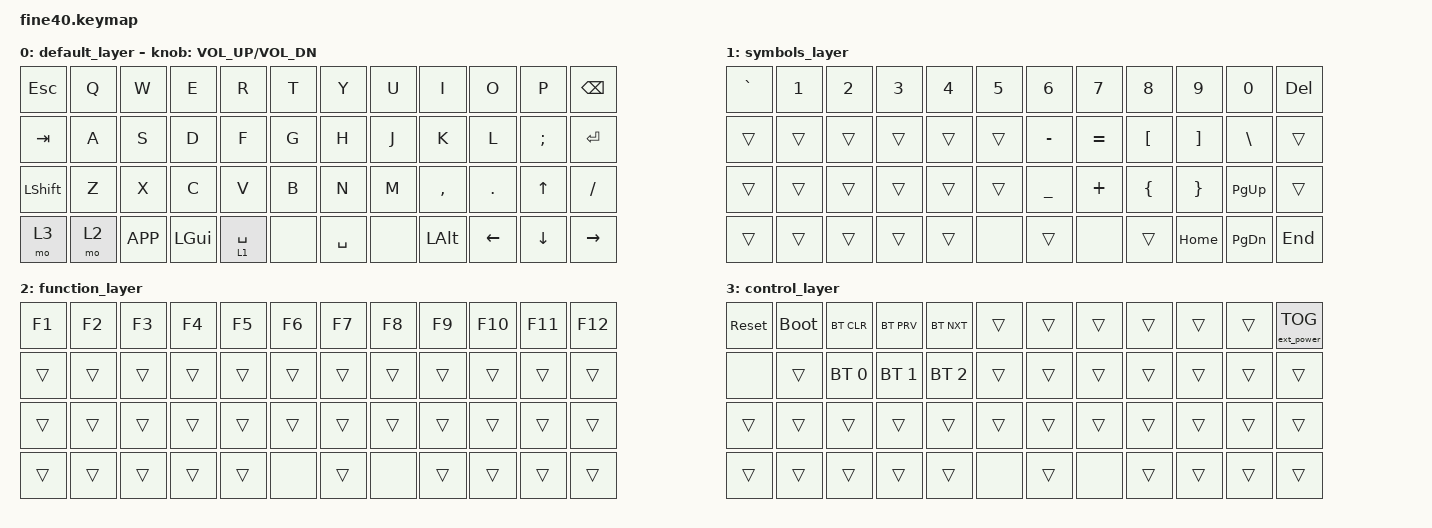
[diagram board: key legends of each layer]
#include <behaviors.dtsi>
#include <dt-bindings/zmk/bt.h>
#include <dt-bindings/zmk/ext_power.h>
#include <dt-bindings/zmk/keys.h>

/ {
    keymap {
        compatible = "zmk,keymap";

        default_layer {
            bindings = <
&kp ESC      &kp Q     &kp W      &kp E     &kp R      &kp T      &kp Y        &kp U     &kp I      &kp O     &kp P      &kp BSPC
&kp TAB      &kp A     &kp S      &kp D     &kp F      &kp G      &kp H        &kp J     &kp K      &kp L     &kp SEMI   &kp RET
&kp LSHFT    &kp Z     &kp X      &kp C     &kp V      &kp B      &kp N        &kp M     &kp COMMA  &kp DOT   &kp UP     &kp FSLH
&mo 3        &mo 2     &kp K_APP  &kp LGUI  &lt 1 SPACE &none     &kp SPACE    &none     &kp LALT   &kp LEFT  &kp DOWN   &kp RIGHT
            >;

            sensor-bindings = <&inc_dec_kp C_VOL_UP C_VOL_DN>;
        };

        symbols_layer {
            bindings = <
&kp GRAVE    &kp N1    &kp N2     &kp N3    &kp N4     &kp N5     &kp N6       &kp N7    &kp N8     &kp N9    &kp N0     &kp DEL
&trans       &trans    &trans     &trans    &trans     &trans     &kp MINUS    &kp EQUAL &kp LBKT   &kp RBKT  &kp BSLH   &trans
&trans       &trans    &trans     &trans    &trans     &trans     &kp UNDER    &kp PLUS  &kp LBRC   &kp RBRC  &kp PG_UP  &trans
&trans       &trans    &trans     &trans    &trans     &none      &trans       &none     &trans     &kp HOME  &kp PG_DN  &kp END
            >;
        };

        function_layer {
            bindings = <
&kp F1       &kp F2    &kp F3     &kp F4    &kp F5     &kp F6     &kp F7       &kp F8    &kp F9     &kp F10   &kp F11    &kp F12
&trans       &trans    &trans     &trans    &trans     &trans     &trans       &trans    &trans     &trans    &trans     &trans
&trans       &trans    &trans     &trans    &trans     &trans     &trans       &trans    &trans     &trans    &trans     &trans
&trans       &trans    &trans     &trans    &trans     &none      &trans       &none     &trans     &trans    &trans     &trans
            >;
        };

        control_layer {
            bindings = <
&sys_reset   &bootloader  &bt BT_CLR   &bt BT_PRV   &bt BT_NXT   &trans    &trans  &trans  &trans  &trans  &trans  &ext_power EP_TOG
&none        &trans       &bt BT_SEL 0 &bt BT_SEL 1 &bt BT_SEL 2 &trans    &trans  &trans  &trans  &trans  &trans  &trans
&trans       &trans       &trans       &trans       &trans       &trans    &trans  &trans  &trans  &trans  &trans  &trans
&trans       &trans       &trans       &trans       &trans       &none     &trans  &none   &trans  &trans  &trans  &trans
            >;
        };
    };
};
